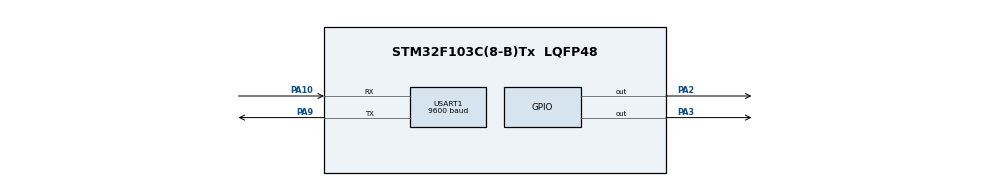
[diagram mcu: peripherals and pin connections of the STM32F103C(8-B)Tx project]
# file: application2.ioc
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Mcu.Family=STM32F1
Mcu.Name=STM32F103C(8-B)Tx
Mcu.Package=LQFP48
NVIC.PriorityGroup=NVIC_PRIORITYGROUP_4
NVIC.USART1_IRQn=true\:0\:0\:false\:false\:true\:true\:true\:true
PA10.Mode=Asynchronous
PA10.Signal=USART1_RX
PA13.Mode=Serial_Wire
PA13.Signal=SYS_JTMS-SWDIO
PA14.Mode=Serial_Wire
PA14.Signal=SYS_JTCK-SWCLK
PA2.Signal=GPIO_Output
PA3.Signal=GPIO_Output
PA9.Mode=Asynchronous
PA9.Signal=USART1_TX
ProjectManager.HeapSize=0x200
ProjectManager.StackSize=0x400
ProjectManager.TargetToolchain=STM32CubeIDE
RCC.APB1Freq_Value=8000000
RCC.APB2Freq_Value=8000000
USART1.BaudRate=9600
USART1.VirtualMode=VM_ASYNC
board=custom

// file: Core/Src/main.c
/* USER CODE BEGIN Header */
/**
  ******************************************************************************
  * @file           : main.c
  * @brief          : Main program body
  ******************************************************************************
  * @attention
  *
  * Copyright (c) 2025 STMicroelectronics.
  * All rights reserved.
  *
  * This software is licensed under terms that can be found in the LICENSE file
  * in the root directory of this software component.
  * If no LICENSE file comes with this software, it is provided AS-IS.
  *
  ******************************************************************************
  */
/* USER CODE END Header */
#include "main.h"

/* USER CODE BEGIN Includes */
#include <stdio.h>
#include <string.h>
/* USER CODE END Includes */

/* USER CODE BEGIN PD */
#define FIRMWARE_VERSION		"1.1"
#define SLOT_1_ADDR				0x08002C00  //11 page
#define ADDR_OF_SLOT_NO			0x08002800   //10 page
/* USER CODE END PD */

UART_HandleTypeDef huart1;

/* USER CODE BEGIN PV */
uint8_t x = 0;
char tx_data[150]={0};
uint32_t flash_write_data[1024];
uint32_t PageError = 0;
HAL_StatusTypeDef status = HAL_OK;
/* USER CODE END PV */

void SystemClock_Config(void);
static void MX_GPIO_Init(void);
static void MX_USART1_UART_Init(void);
/* USER CODE BEGIN PFP */
void Write_into_Flash(uint32_t addr,uint32_t data[],uint16_t size, uint32_t NbPages);
/* USER CODE END PFP */

int main(void)
{

  /* MCU Configuration--------------------------------------------------------*/

  /* Reset of all peripherals, Initializes the Flash interface and the Systick. */
  HAL_Init();

  /* Configure the system clock */
  SystemClock_Config();

  /* Initialize all configured peripherals */
  MX_GPIO_Init();
  MX_USART1_UART_Init();
  /* USER CODE BEGIN 2 */
  sprintf(tx_data,"Application 2 loaded successfully \n");
  HAL_UART_Transmit(&huart1, (uint8_t*)tx_data, strlen(tx_data), 1000);

  HAL_GPIO_WritePin(GPIOA, GPIO_PIN_3, 0);

  flash_write_data[0] = 1;
  Write_into_Flash((uint32_t)ADDR_OF_SLOT_NO,flash_write_data,1,1);
  /* USER CODE END 2 */

  /* Infinite loop */
  /* USER CODE BEGIN WHILE */
  while (1)
  {
	  HAL_GPIO_TogglePin(GPIOA,GPIO_PIN_3);
	  HAL_Delay(300);
    /* USER CODE END WHILE */

    /* USER CODE BEGIN 3 */
  }
    sprintf(tx_data,"Application 1 Exiting \n");
    HAL_UART_Transmit(&huart1,(uint8_t*) tx_data, strlen(tx_data), 1000);
  /* USER CODE END 3 */
}

void SystemClock_Config(void)
{
  RCC_OscInitTypeDef RCC_OscInitStruct = {0};
  RCC_ClkInitTypeDef RCC_ClkInitStruct = {0};

  /** Initializes the RCC Oscillators according to the specified parameters
  * in the RCC_OscInitTypeDef structure.
  */
  RCC_OscInitStruct.OscillatorType = RCC_OSCILLATORTYPE_HSI;
  RCC_OscInitStruct.HSIState = RCC_HSI_ON;
  RCC_OscInitStruct.HSICalibrationValue = RCC_HSICALIBRATION_DEFAULT;
  RCC_OscInitStruct.PLL.PLLState = RCC_PLL_NONE;
  if (HAL_RCC_OscConfig(&RCC_OscInitStruct) != HAL_OK)
  {
    Error_Handler();
  }

  /** Initializes the CPU, AHB and APB buses clocks
  */
  RCC_ClkInitStruct.ClockType = RCC_CLOCKTYPE_HCLK|RCC_CLOCKTYPE_SYSCLK
                              |RCC_CLOCKTYPE_PCLK1|RCC_CLOCKTYPE_PCLK2;
  RCC_ClkInitStruct.SYSCLKSource = RCC_SYSCLKSOURCE_HSI;
  RCC_ClkInitStruct.AHBCLKDivider = RCC_SYSCLK_DIV1;
  RCC_ClkInitStruct.APB1CLKDivider = RCC_HCLK_DIV1;
  RCC_ClkInitStruct.APB2CLKDivider = RCC_HCLK_DIV1;

  if (HAL_RCC_ClockConfig(&RCC_ClkInitStruct, FLASH_LATENCY_0) != HAL_OK)
  {
    Error_Handler();
  }
}

static void MX_USART1_UART_Init(void)
{

  huart1.Instance = USART1;
  huart1.Init.BaudRate = 9600;
  huart1.Init.WordLength = UART_WORDLENGTH_8B;
  huart1.Init.StopBits = UART_STOPBITS_1;
  huart1.Init.Parity = UART_PARITY_NONE;
  huart1.Init.Mode = UART_MODE_TX_RX;
  huart1.Init.HwFlowCtl = UART_HWCONTROL_NONE;
  huart1.Init.OverSampling = UART_OVERSAMPLING_16;
  if (HAL_UART_Init(&huart1) != HAL_OK)
  {
    Error_Handler();
  }

}

static void MX_GPIO_Init(void)
{
  GPIO_InitTypeDef GPIO_InitStruct = {0};

  /* GPIO Ports Clock Enable */
  __HAL_RCC_GPIOA_CLK_ENABLE();

  /*Configure GPIO pin Output Level */
  HAL_GPIO_WritePin(GPIOA, GPIO_PIN_2|GPIO_PIN_3, GPIO_PIN_RESET);

  /*Configure GPIO pins : PA2 PA3 */
  GPIO_InitStruct.Pin = GPIO_PIN_2|GPIO_PIN_3;
  GPIO_InitStruct.Mode = GPIO_MODE_OUTPUT_PP;
  GPIO_InitStruct.Pull = GPIO_NOPULL;
  GPIO_InitStruct.Speed = GPIO_SPEED_FREQ_LOW;
  HAL_GPIO_Init(GPIOA, &GPIO_InitStruct);

}

/* USER CODE BEGIN 4 */
void Write_into_Flash(uint32_t addr,uint32_t data[],uint16_t size, uint32_t NbPages)
{
	 HAL_FLASH_Unlock();

		FLASH_EraseInitTypeDef EraseInitStruct = {0};

		EraseInitStruct.TypeErase   	   = 	FLASH_TYPEERASE_PAGES;
		EraseInitStruct.PageAddress        = 	addr ;
		EraseInitStruct.NbPages     	   = 	NbPages;

		status	=	HAL_FLASHEx_Erase(&EraseInitStruct, &PageError);
		if (status == HAL_OK)
		{
			HAL_UART_Transmit(&huart1, (uint8_t*)"valid address", strlen("valid address") , 100);
			for(uint16_t i=0;i<size;i++)
			{
				HAL_FLASH_Program(FLASH_TYPEPROGRAM_WORD, addr  ,data[i]);
			}
		}

	 HAL_FLASH_Lock();

	 HAL_UART_Transmit(&huart1, (uint8_t*)"return from Write_into_Flash", strlen("return from Write_into_Flash") , 100);

}
/* USER CODE END 4 */

void Error_Handler(void)
{
  __disable_irq();
  while (1)
  {
  }
}
